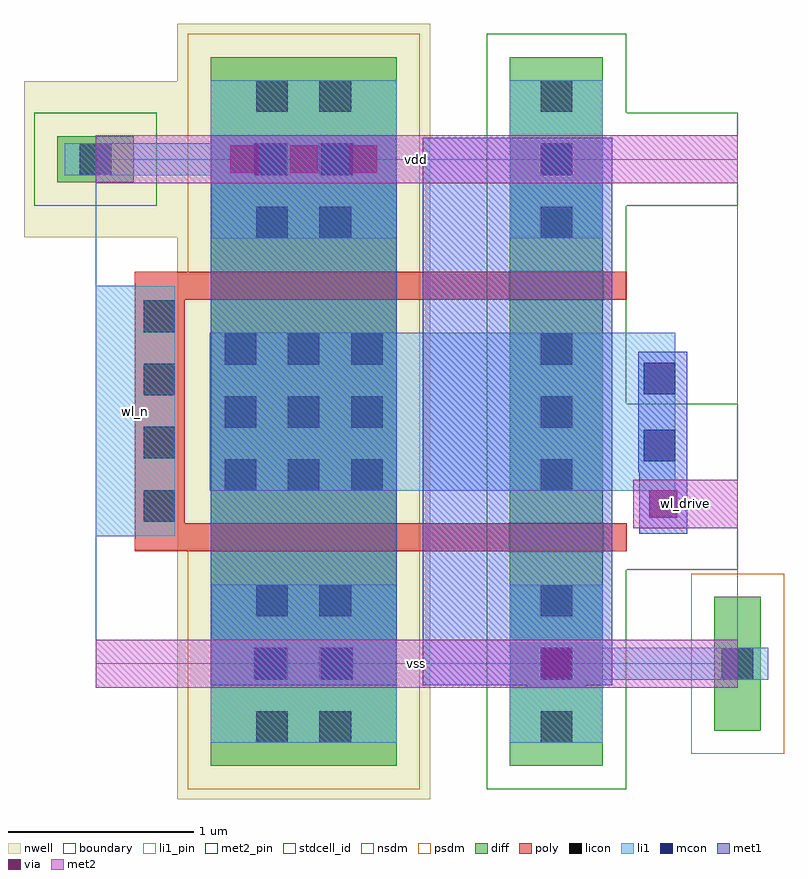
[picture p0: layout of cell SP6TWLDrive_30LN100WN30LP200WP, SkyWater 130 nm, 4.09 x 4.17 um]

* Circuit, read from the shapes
.subckt SP6TWLDrive_30LN100WN30LP200WP vdd vss wl_drive wl_n
XM1 wl_drive wl_n vss VSUBS sky130_fd_pr__nfet_01v8 w=0.5 l=0.15 m=2
XM2 wl_drive wl_n vdd n1 sky130_fd_pr__pfet_01v8 w=1 l=0.15 m=2
.ends

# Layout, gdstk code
import gdstk
lib = gdstk.Library(unit=1e-6, precision=1e-09)
def R(c, l, rs):  # rectangles x0, y0, x1, y1
    for r in rs: c.add(gdstk.rectangle(r[:2], r[2:], *l))
def A(c, l, x, y, w, h, nx, ny, dx, dy):  # array of equal rectangles
    R(c, l, [(x+i*dx, y+j*dy, x+i*dx+w, y+j*dy+h) for i in range(nx) for j in range(ny)])
def P(c, l, *ps):  # polygons
    for p in ps: c.add(gdstk.Polygon(p, *l))
nwell = (64, 20)
diff = (65, 20)
poly = (66, 20)
licon = (66, 44)
li1_pin = (67, 16)
li1 = (67, 20)
mcon = (67, 44)
met1 = (68, 20)
via = (68, 44)
met2_pin = (69, 16)
met2 = (69, 20)
stdcell_id = (81, 4)
nsdm = (93, 44)
psdm = (94, 20)
boundary = (235, 4)

sp6twldrive_30ln100wn30l = lib.new_cell('SP6TWLDrive_30LN100WN30LP200WP')
P(sp6twldrive_30ln100wn30l, nwell, [(-3.015,-0.73),(-3.015,2.295),(-3.84,2.295),(-3.84,3.135),(-3.015,3.135),(-3.015,3.445),(-1.655,3.445),(-1.655,-0.73)])
R(sp6twldrive_30ln100wn30l, diff, [(-2.835,-0.55,-1.835,3.265), (-1.225,-0.55,-0.725,3.265), (-0.125,-0.36,0.125,0.36), (-3.66,2.59,-3.25,2.84)])
P(sp6twldrive_30ln100wn30l, poly, [(-3.245,0.605),(-3.245,2.11),(-0.595,2.11),(-0.595,1.96),(-2.975,1.96),(-2.975,0.755),(-0.595,0.755),(-0.595,0.605)])
A(sp6twldrive_30ln100wn30l, licon, -2.59, -0.425, 0.17, 0.17, 1, 3, 0, 0.34)
A(sp6twldrive_30ln100wn30l, licon, -2.25, -0.425, 0.17, 0.17, 1, 3, 0, 0.34)
A(sp6twldrive_30ln100wn30l, licon, -1.06, -0.425, 0.17, 0.17, 1, 3, 0, 0.34)
A(sp6twldrive_30ln100wn30l, licon, -3.195, 0.765, 0.17, 0.17, 1, 4, 0, 0.34)
A(sp6twldrive_30ln100wn30l, licon, -2.76, 0.93, 0.17, 0.17, 3, 3, 0.34, 0.34)
A(sp6twldrive_30ln100wn30l, licon, -1.06, 0.93, 0.17, 0.17, 1, 3, 0, 0.34)
A(sp6twldrive_30ln100wn30l, licon, -2.59, 2.29, 0.17, 0.17, 1, 3, 0, 0.34)
A(sp6twldrive_30ln100wn30l, licon, -2.25, 2.29, 0.17, 0.17, 1, 3, 0, 0.34)
A(sp6twldrive_30ln100wn30l, licon, -1.06, 2.29, 0.17, 0.17, 1, 3, 0, 0.34)
R(sp6twldrive_30ln100wn30l, licon, [(-0.085,-0.085,0.085,0.085), (-3.54,2.63,-3.37,2.8)])
R(sp6twldrive_30ln100wn30l, li1_pin, [(-3.455,0.685,-3.025,2.035)])
R(sp6twldrive_30ln100wn30l, li1, [(-2.835,-0.425,-1.835,0.425), (-3.455,0.685,-3.025,2.035), (-2.84,0.93,-0.335,1.78), (-1.225,2.29,-0.725,3.14)])
P(sp6twldrive_30ln100wn30l, li1, [(-1.225,-0.425),(-1.225,0.425),(-0.725,0.425),(-0.725,0.085),(0.165,0.085),(0.165,-0.085),(-0.725,-0.085),(-0.725,-0.425)],
  [(-2.835,2.29),(-2.835,2.63),(-3.62,2.63),(-3.62,2.8),(-2.835,2.8),(-2.835,3.14),(-1.835,3.14),(-1.835,2.29)])
R(sp6twldrive_30ln100wn30l, mcon, [(-2.6,-0.085,-2.43,0.085), (-2.24,-0.085,-2.07,0.085), (-1.06,-0.085,-0.89,0.085), (-0.505,1.09,-0.335,1.26), (-0.505,1.45,-0.335,1.62), (-2.6,2.63,-2.43,2.8), (-2.24,2.63,-2.07,2.8), (-1.06,2.63,-0.89,2.8)])
R(sp6twldrive_30ln100wn30l, met1, [(-2.835,-0.115,-1.835,2.845)])
P(sp6twldrive_30ln100wn30l, met1, [(-1.135,-0.13),(-1.135,-0.115),(-1.695,-0.115),(-1.695,2.83),(-0.675,2.83),(-0.675,-0.115),(-0.815,-0.115),(-0.815,-0.13)],
  [(-0.53,0.7),(-0.53,1.03),(-0.535,1.03),(-0.535,1.68),(-0.27,1.68),(-0.27,0.7)])
A(sp6twldrive_30ln100wn30l, via, -2.73, 2.64, 0.15, 0.15, 3, 1, 0.32, 0)
R(sp6twldrive_30ln100wn30l, via, [(-1.05,-0.075,-0.9,0.075), (-0.475,0.785,-0.325,0.935)])
R(sp6twldrive_30ln100wn30l, met2_pin, [(-3.455,-0.13,0,0.13), (-0.56,0.73,0,0.99), (-3.455,2.585,0,2.845)])
R(sp6twldrive_30ln100wn30l, met2, [(-3.455,-0.13,0,0.13), (-0.56,0.73,0,0.99), (-3.455,2.585,0,2.845)])
R(sp6twldrive_30ln100wn30l, stdcell_id, [(-1.23,0.6,-0.72,0.76), (-1.23,1.955,-0.72,2.115)])
R(sp6twldrive_30ln100wn30l, nsdm, [(-3.785,2.465,-3.125,2.965)])
P(sp6twldrive_30ln100wn30l, nsdm, [(-1.35,-0.675),(-1.35,3.39),(-0.6,3.39),(-0.6,2.965),(0,2.965),(0,2.465),(-0.6,2.465),(-0.6,1.4),(0,1.4),(0,0.505),(-0.6,0.505),(-0.6,-0.675)])
R(sp6twldrive_30ln100wn30l, psdm, [(-0.25,-0.485,0.25,0.485)])
P(sp6twldrive_30ln100wn30l, psdm, [(-2.96,-0.675),(-2.96,0.61),(-3.245,0.61),(-3.245,2.11),(-2.96,2.11),(-2.96,3.39),(-1.71,3.39),(-1.71,-0.675)])
R(sp6twldrive_30ln100wn30l, boundary, [(-3.455,0,0,2.715)])
sp6twldrive_30ln100wn30l.add(gdstk.Label('vss', (-1.728,0), layer=69, texttype=16))
sp6twldrive_30ln100wn30l.add(gdstk.Label('wl_drive', (-0.28,0.86), layer=69, texttype=16))
sp6twldrive_30ln100wn30l.add(gdstk.Label('vdd', (-1.728,2.715), layer=69, texttype=16))
sp6twldrive_30ln100wn30l.add(gdstk.Label('wl_n', (-3.24,1.36), layer=67, texttype=16))

lib.write_gds('SP6TWLDrive_30LN100WN30LP200WP.gds')
